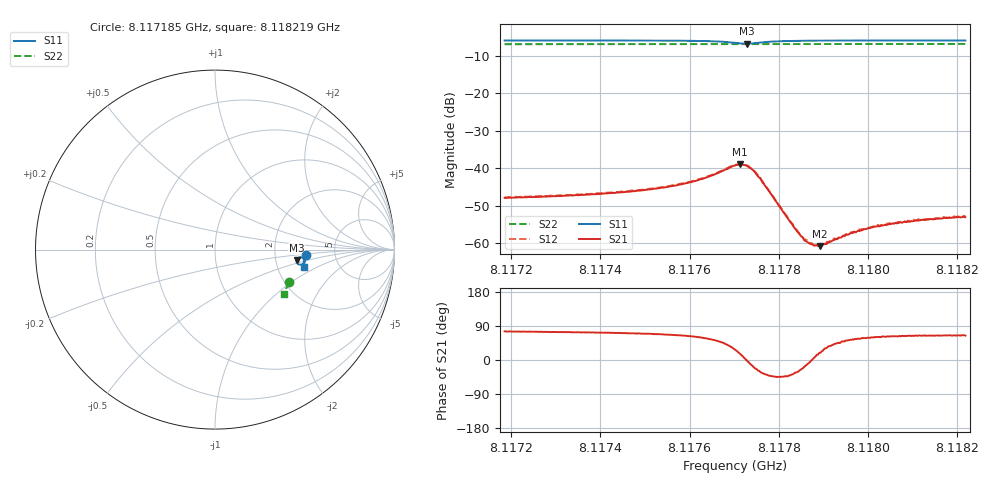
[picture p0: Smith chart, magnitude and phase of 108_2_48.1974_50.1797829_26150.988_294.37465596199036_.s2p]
#  HZ  S  RI  R  50.00
! Rohde & Schwarz Vector Network Analyzer
! Rohde-Schwarz,ZNB20-2Port,1311601062101988,3.16
! Created: UTC 3/20/2024, 11:40:53 AM
! freq[Hz]  re:S11  im:S11  re:S21  im:S21  re:S12  im:S12  re:S22  im:S22
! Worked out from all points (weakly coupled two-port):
!   401 points, 8.117185 GHz to 8.118219 GHz, reference 50 ohm
!   highest |S21| = -38.96 dB at 8.117712 GHz (marker M1); lowest = -60.8 dB at 8.117893 GHz (marker M2)
!   lowest |S11| = -6.8 dB at 8.117728 GHz (marker M3), VSWR 2.69, Z = 131 - j20 ohm
!   |S11| at or under -10 dB: nowhere
!   |S22| runs from -6.9 to -6.9 dB; largest |S21 - S12| = 0.00038
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8.1171848e9  0.5049 -0.0315  0.000993 0.0039  0.00109 0.00396  0.413 -0.1817
8.117358e9  0.5032 -0.0462  0.00131 0.00423  0.00136 0.00428  0.4085 -0.1929
8.1174666e9  0.5013 -0.0562  0.00164 0.00458  0.00173 0.00472  0.4054 -0.2
8.1175313e9  0.4994 -0.0631  0.00201 0.00505  0.00212 0.00509  0.4033 -0.2042
8.117614e9  0.4936 -0.0744  0.00327 0.00595  0.00341 0.00606  0.4006 -0.2097
8.1176528e9  0.4866 -0.081  0.00487 0.00651  0.00498 0.00659  0.3992 -0.212
8.1177019e9  0.4631 -0.0808  0.00968 0.00496  0.00988 0.00499  0.3967 -0.2148
8.1177122e9  0.4571 -0.0746  0.0108 0.00335  0.0109 0.00327  0.3963 -0.215
8.1177277e9  0.4541 -0.0604  0.0108 -1.51e-05  0.011 -0.000176  0.3958 -0.2152
8.1177407e9  0.4595 -0.049  0.00933 -0.00245  0.00939 -0.00269  0.3958 -0.2157
8.1177562e9  0.4706 -0.0429  0.0066 -0.00362  0.00655 -0.00382  0.3959 -0.2165
8.1178441e9  0.4966 -0.0593  0.0012 -0.00071  0.00123 -0.000692  0.3943 -0.2226
8.1178518e9  0.4971 -0.0607  0.00113 -0.000478  0.00113 -0.000517  0.3939 -0.223
8.1178622e9  0.4975 -0.0626  0.00104 -0.000241  0.00107 -0.000302  0.3937 -0.2239
8.1178751e9  0.4978 -0.0647  0.00096 1.14e-05  0.000995 -2.64e-05  0.3934 -0.2248
8.1178932e9  0.4983 -0.0674  0.000864 0.000297  0.000896 0.000307  0.3928 -0.2259
8.117901e9  0.4984 -0.0683  0.000864 0.000445  0.000853 0.00042  0.3926 -0.2265
8.1179656e9  0.4983 -0.0761  0.000797 0.00112  0.000834 0.00107  0.3903 -0.2305
8.1180121e9  0.498 -0.0809  0.000849 0.00144  0.000829 0.00142  0.3887 -0.2334
8.1180483e9  0.4976 -0.0843  0.000841 0.00159  0.000891 0.00163  0.3876 -0.2357
8.1181233e9  0.4965 -0.0911  0.000885 0.00186  0.000902 0.00184  0.3851 -0.2404
8.1182189e9  0.4952 -0.0989  0.000965 0.00201  0.00097 0.00208  0.3817 -0.2462
